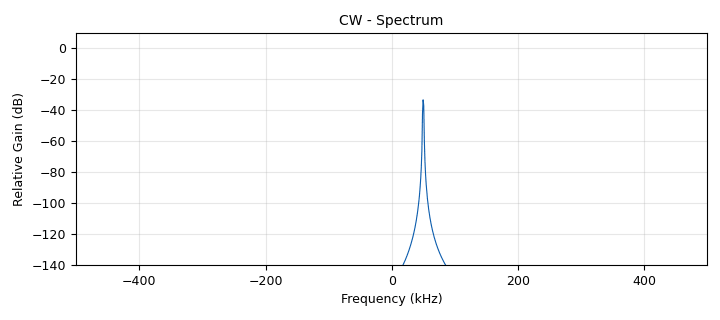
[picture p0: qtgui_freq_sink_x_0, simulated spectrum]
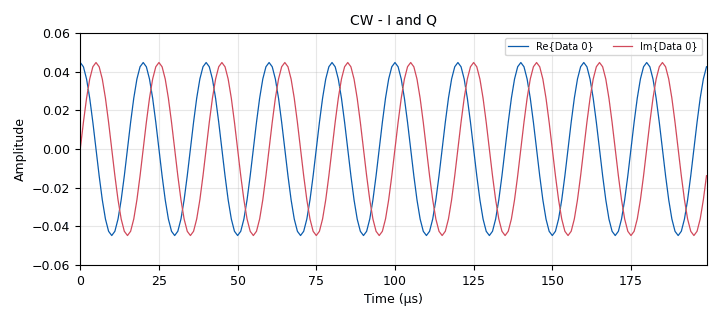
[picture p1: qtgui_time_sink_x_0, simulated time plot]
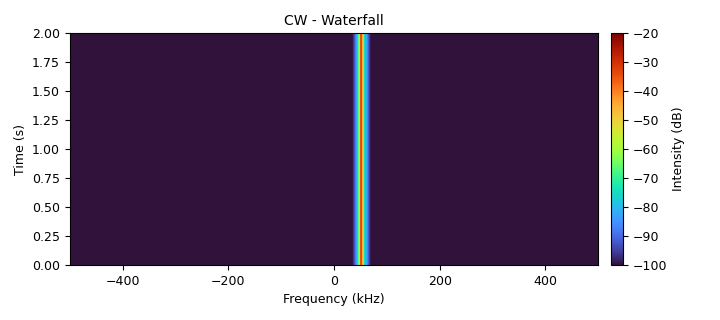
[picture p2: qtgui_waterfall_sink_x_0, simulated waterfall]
options:
  parameters:
    author: '00'
    generate_options: qt_gui
    id: cw_burst
    output_language: python
    title: Not titled yet
  states: {}

blocks:
- name: center_hz
  id: variable
  parameters:
    value: '50000'
  states: {}
- name: display_decim
  id: variable
  parameters:
    value: '1000'
  states: {}
- name: ramp_samples
  id: variable
  parameters:
    value: int(samp_rate*0.002)
  states: {}
- name: samp_rate
  id: variable
  parameters:
    value: '1000000'
  states: {}
- name: signal_amp
  id: variable
  parameters:
    value: 10**(signal_dbfs/20)
  states: {}
- name: signal_dbfs
  id: variable
  parameters:
    value: '-27'
  states: {}
- name: slot_samples
  id: variable
  parameters:
    value: int(samp_rate*0.1)
  states: {}
- name: analog_sig_source_x_0
  id: analog_sig_source_x
  parameters:
    amp: signal_amp
    freq: center_hz
    offset: '0'
    phase: '0'
    samp_rate: samp_rate
    type: complex
    waveform: analog.GR_COS_WAVE
  states: {}
- name: blocks_throttle_0
  id: blocks_throttle
  parameters:
    samples_per_second: samp_rate
    type: complex
  states: {}
- name: qtgui_freq_sink_x_0
  id: qtgui_freq_sink_x
  parameters:
    bw: samp_rate
    fc: '0'
    fftsize: '1024'
    gui_hint: 1,0
    name: '"CW - Spectrum"'
    type: complex
    wintype: window.WIN_HANN
  states: {}
- name: qtgui_time_sink_x_0
  id: qtgui_time_sink_x
  parameters:
    gui_hint: 0,0
    name: '"CW - I and Q"'
    size: '200'
    srate: samp_rate
    type: complex
    ymax: '0.06'
    ymin: '-0.06'
  states: {}
- name: qtgui_waterfall_sink_x_0
  id: qtgui_waterfall_sink_x
  parameters:
    bw: samp_rate
    fc: '0'
    fftsize: '512'
    gui_hint: 2,0
    int_max: '-20'
    int_min: '-100'
    name: '"CW - Waterfall"'
    type: complex
    wintype: window.WIN_HANN
  states: {}

connections:
- [analog_sig_source_x_0, '0', blocks_throttle_0, '0']
- [blocks_throttle_0, '0', qtgui_freq_sink_x_0, '0']
- [blocks_throttle_0, '0', qtgui_time_sink_x_0, '0']
- [blocks_throttle_0, '0', qtgui_waterfall_sink_x_0, '0']

metadata:
  file_format: 1
  grc_version: 3.10.12.0
